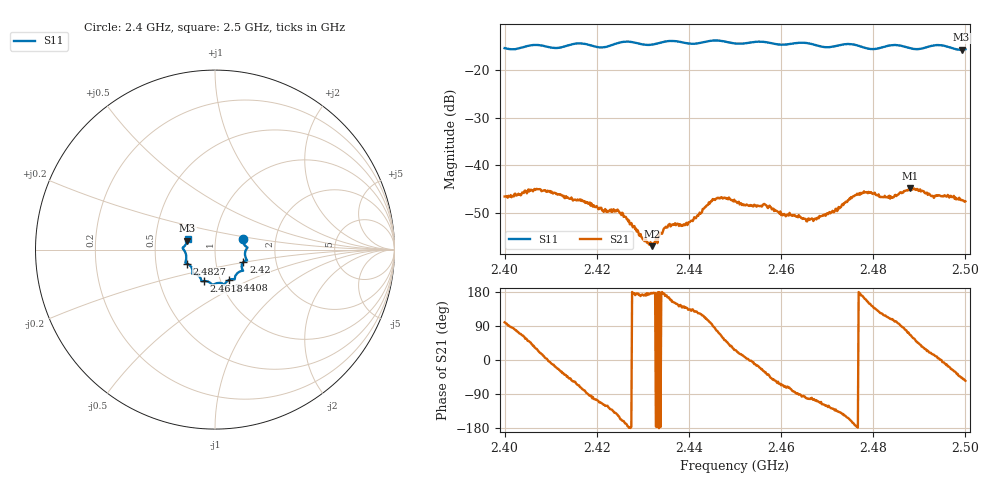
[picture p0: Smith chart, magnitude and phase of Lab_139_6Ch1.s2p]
# Hz S RI R 50
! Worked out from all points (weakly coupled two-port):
!   601 points, 2.4 GHz to 2.5 GHz, reference 50 ohm
!   highest |S21| = -44.72 dB at 2.488 GHz (marker M1); lowest = -56.9 dB at 2.432 GHz (marker M2)
!   lowest |S11| = -15.8 dB at 2.4992 GHz (marker M3), VSWR 1.38, Z = 36.5 + j3.71 ohm
!   |S11| at or under -10 dB: start of sweep to end of sweep
!   S12 and S22 are empty: the file has one direction only
!   S11 on the Smith chart (normalised r, x): 2.4 GHz: 1.36, +0.17; 2.42 GHz: 1.36, -0.19; 2.4408 GHz: 1.10, -0.39; 2.4618 GHz: 0.84, -0.30; 2.4827 GHz: 0.72, -0.12; 2.5 GHz: 0.73, +0.09
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2.4e9  0.1561 0.0617  -0.000771 0.00466  0 0  0 0
2.407333e9  0.1805 0.0103  0.00516 0.00226  0 0  0 0
2.416667e9  0.1782 -0.0594  0.00121 -0.0042  0 0  0 0
2.42e9  0.158 -0.0695  -0.00103 -0.00361  0 0  0 0
2.425e9  0.155 -0.1138  -0.00283 -0.00142  0 0  0 0
2.432e9  0.1177 -0.1397  -0.00143 0.000116  0 0  0 0
2.433333e9  0.1119 -0.152  -0.00181 2.62e-05  0 0  0 0
2.435333e9  0.1107 -0.1646  -0.00218 0.00056  0 0  0 0
2.440833e9  0.0792 -0.1688  -0.0018 0.00189  0 0  0 0
2.445667e9  0.0521 -0.195  0.000458 0.00432  0 0  0 0
2.45e9  0.0275 -0.1857  0.00376 0.00186  0 0  0 0
2.4565e9  -0.0161 -0.1938  0.00328 -0.00212  0 0  0 0
2.461833e9  -0.0601 -0.1752  0.000922 -0.00305  0 0  0 0
2.466667e9  -0.0769 -0.1685  -0.000477 -0.00275  0 0  0 0
2.471833e9  -0.1131 -0.1352  -0.00227 -0.00267  0 0  0 0
2.4775e9  -0.1252 -0.1197  -0.00499 0.00087  0 0  0 0
2.482667e9  -0.1568 -0.0779  -0.00213 0.00412  0 0  0 0
2.483333e9  -0.1611 -0.0765  -0.00167 0.00426  0 0  0 0
2.488e9  -0.1599 -0.0499  0.00234 0.00532  0 0  0 0
2.494167e9  -0.1803 0.0087  0.00485 0.0004  0 0  0 0
2.499167e9  -0.1535 0.0494  0.00295 -0.00321  0 0  0 0
2.5e9  -0.1517 0.0615  0.00242 -0.00344  0 0  0 0
